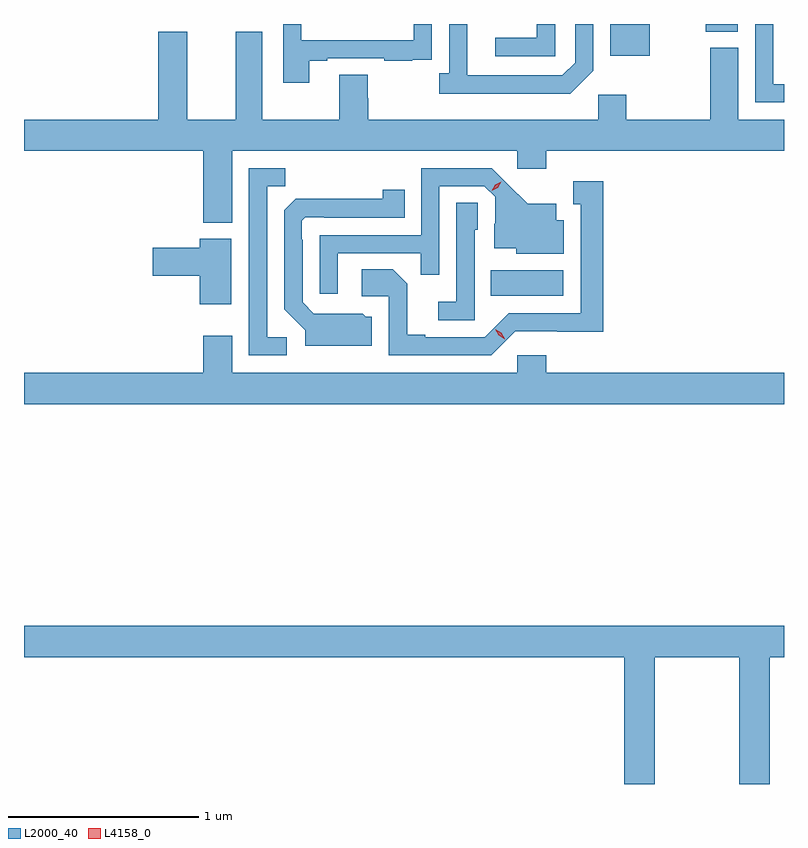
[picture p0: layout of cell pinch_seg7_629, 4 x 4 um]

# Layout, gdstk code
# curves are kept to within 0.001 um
import gdstk
lib = gdstk.Library(unit=1e-6, precision=1e-09)
def R(c, l, rs):  # rectangles x0, y0, x1, y1
    for r in rs: c.add(gdstk.rectangle(r[:2], r[2:], *l))
def P(c, l, *ps):  # polygons
    for p in ps: c.add(gdstk.Polygon(p, *l))
L2000_40 = (2000, 40)
L4158_0 = (4158, 0)

pinch_seg7_629 = lib.new_cell('pinch_seg7_629')
R(pinch_seg7_629, L2000_40, [(126.268,1009.178,126.649,1009.312), (126.896,1010.441,127.104,1010.608), (127.4,1010.567,127.567,1010.608)])
P(pinch_seg7_629, L2000_40, [(127.811,1010.291),(127.755,1010.291),(127.755,1010.608),(127.659,1010.608),(127.659,1010.196),(127.811,1010.196)],
  [(126.807,1010.361),(126.807,1010.608),(126.711,1010.608),(126.711,1010.403),(126.645,1010.337),(126.145,1010.337),(126.144,1010.608),(126.048,1010.608),(126.048,1010.35),(125.997,1010.35),(125.997,1010.24),(126.686,1010.24)],
  [(125.311,1010.415),(125.407,1010.415),(125.407,1010.427),(125.707,1010.427),(125.707,1010.415),(125.855,1010.415),(125.855,1010.421),(125.957,1010.421),(125.957,1010.53),(125.958,1010.53),(125.958,1010.608),(125.862,1010.608),(125.862,1010.523),(125.271,1010.523),(125.271,1010.608),(125.175,1010.608),(125.175,1010.298),(125.311,1010.298)],
  [(126.606,1010.608),(126.51,1010.608),(126.51,1010.535),(126.291,1010.535),(126.291,1010.439),(126.606,1010.439)],
  [(124.906,1009.94),(126.408,1009.94),(126.408,1009.845),(126.56,1009.845),(126.56,1009.94),(127.811,1009.94),(127.811,1010.104),(127.57,1010.104),(127.57,1010.482),(127.423,1010.482),(127.423,1010.104),(126.981,1010.104),(126.981,1010.236),(126.834,1010.236),(126.834,1010.104),(125.624,1010.104),(125.624,1010.217),(125.619,1010.217),(125.619,1010.342),(125.471,1010.342),(125.471,1010.104),(125.065,1010.104),(125.065,1010.566),(124.925,1010.566),(124.925,1010.104),(124.669,1010.104),(124.669,1010.566),(124.517,1010.566),(124.517,1010.104),(123.811,1010.104),(123.811,1009.94),(124.754,1009.94),(124.754,1009.562),(124.906,1009.562)],
  [(125.463,1009.401),(125.899,1009.401),(125.899,1009.288),(125.997,1009.288),(125.997,1009.755),(126.234,1009.755),(126.291,1009.698),(126.291,1009.556),(126.287,1009.556),(126.287,1009.427),(126.402,1009.427),(126.402,1009.4),(126.652,1009.4),(126.652,1009.576),(126.613,1009.576),(126.613,1009.663),(126.461,1009.663),(126.274,1009.848),(125.901,1009.848),(125.901,1009.497),(125.367,1009.497),(125.367,1009.188),(125.463,1009.188)],
  [(125.194,1008.96),(125.091,1008.96),(125.091,1009.753),(125.187,1009.753),(125.187,1009.848),(124.995,1009.848),(124.995,1008.864),(125.194,1008.864)],
  [(126.396,1008.99),(126.859,1008.989),(126.859,1009.78),(126.701,1009.78),(126.701,1009.659),(126.74,1009.659),(126.74,1009.086),(126.363,1009.086),(126.237,1008.96),(125.923,1008.96),(125.923,1008.973),(125.829,1008.973),(125.829,1009.24),(125.753,1009.316),(125.589,1009.316),(125.589,1009.176),(125.73,1009.176),(125.73,1008.864),(126.27,1008.864)],
  [(125.641,1009.068),(125.61,1009.068),(125.594,1009.084),(125.337,1009.083),(125.277,1009.143),(125.277,1009.472),(125.274,1009.472),(125.274,1009.572),(125.292,1009.59),(125.392,1009.59),(125.392,1009.587),(125.816,1009.587),(125.816,1009.735),(125.698,1009.735),(125.698,1009.688),(125.24,1009.687),(125.181,1009.628),(125.181,1009.106),(125.291,1008.996),(125.291,1008.914),(125.641,1008.914)],
  [(126.183,1009.524),(126.198,1009.524),(126.198,1009.667),(126.087,1009.667),(126.087,1009.147),(125.991,1009.147),(125.991,1009.05),(126.183,1009.05)],
  [(124.903,1009.477),(124.736,1009.477),(124.736,1009.43),(124.488,1009.43),(124.488,1009.283),(124.736,1009.283),(124.736,1009.134),(124.903,1009.134)],
  [(127.811,1008.772),(126.56,1008.772),(126.56,1008.865),(126.408,1008.865),(126.408,1008.772),(124.906,1008.772),(124.906,1008.967),(124.754,1008.967),(124.754,1008.772),(123.811,1008.772),(123.811,1008.608),(127.811,1008.608)],
  [(127.131,1007.276),(127.576,1007.276),(127.576,1006.608),(127.736,1006.608),(127.736,1007.276),(127.811,1007.276),(127.811,1007.44),(123.811,1007.44),(123.811,1007.276),(126.971,1007.276),(126.971,1006.608),(127.131,1006.608)])
P(pinch_seg7_629, L4158_0, [(126.342,1008.95),(126.31,1008.969),(126.292,1009.002),(126.292,1009.002),(126.292,1009.002),(126.324,1008.983),(126.342,1008.951),(126.342,1008.95)],
  [(126.274,1009.731),(126.274,1009.731),(126.291,1009.761),(126.322,1009.777),(126.322,1009.777),(126.322,1009.777),(126.305,1009.747),(126.274,1009.731)])

lib.write_gds('pinch_seg7_629.gds')
